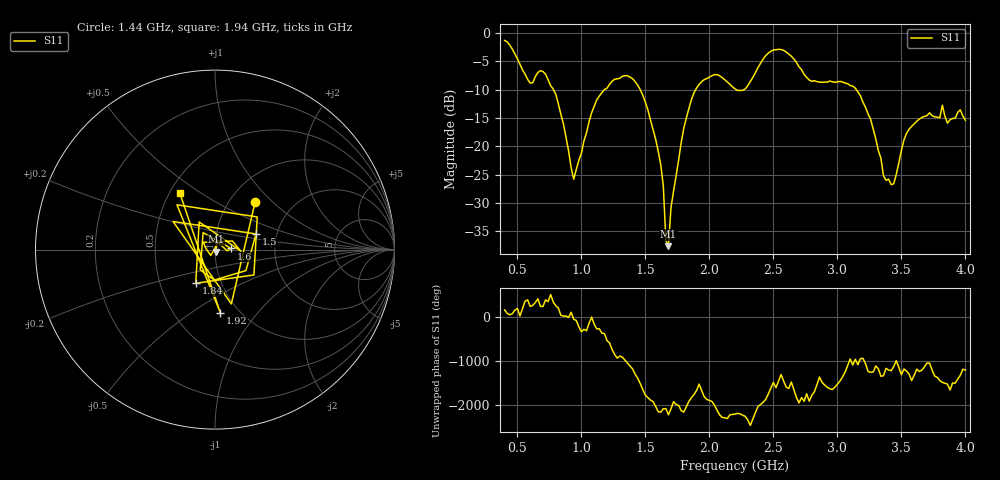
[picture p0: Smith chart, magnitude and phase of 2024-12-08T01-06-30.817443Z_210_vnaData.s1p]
!Created with skrf (http://scikit-rf.org).
# Hz S RI R 50.0
!freq ReS11 ImS11
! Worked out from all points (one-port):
!   181 points, 400 MHz to 4 GHz, reference 50 ohm
!   lowest |S11| = -37.7 dB at 1.68 GHz (marker M1), VSWR 1.03, Z = 50.5 - j1.22 ohm
!   |S11| at or under -10 dB: 782 MHz to 1.179 GHz (397.2 MHz wide, 40.5 % of centre); 1.46 GHz to 1.893 GHz (433.1 MHz wide, 25.8 % of centre); 3.148 GHz to end of sweep (the widest 3 of 4)
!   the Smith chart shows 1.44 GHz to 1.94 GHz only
!   S11 on the Smith chart (normalised r, x): 1.44 GHz: 1.31, +0.78; 1.5 GHz: 1.56, +0.29; 1.6 GHz: 1.20, +0.02; 1.84 GHz: 0.76, -0.30; 1.92 GHz: 0.82, -0.66; 1.94 GHz: 0.56, +0.41
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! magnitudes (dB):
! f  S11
! 400 MHz  -1.3
! 600 MHz  -8.8
! 720 MHz  -7.3
! 860 MHz  -16.1
! 940 MHz  -25.8
! 1.12 GHz  -11.8
! 1.3 GHz  -8.0
! 1.44 GHz  -9.2
! 1.5 GHz  -12.2
! 1.6 GHz  -20.9
! 1.64 GHz  -27.0
! 1.66 GHz  -36.6
! 1.68 GHz  -37.7
! 1.7 GHz  -30.8
! 1.76 GHz  -22.4
! 1.84 GHz  -13.3
! 1.92 GHz  -9.1
! 1.94 GHz  -8.6
! 2.2 GHz  -9.9
! 2.5 GHz  -3.0
! 2.66 GHz  -4.6
! 3.1 GHz  -9.3
! 3.26 GHz  -15.3
! 3.36 GHz  -25.2
! 3.42 GHz  -26.8
! 3.56 GHz  -17.0
! 3.82 GHz  -12.8
! 4 GHz  -15.4
